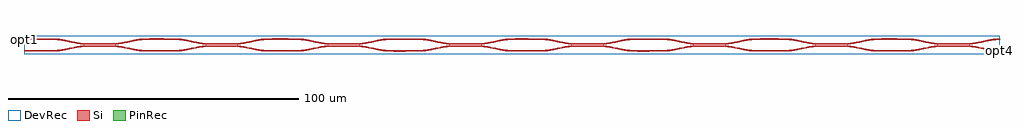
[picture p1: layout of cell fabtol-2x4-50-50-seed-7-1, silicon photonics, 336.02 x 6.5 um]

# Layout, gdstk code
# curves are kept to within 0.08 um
import gdstk
lib = gdstk.Library(unit=1e-6, precision=1e-09)
def R(c, l, rs):  # rectangles x0, y0, x1, y1
    for r in rs: c.add(gdstk.rectangle(r[:2], r[2:], *l))
def P(c, l, *ps):  # polygons
    for p in ps: c.add(gdstk.Polygon(p, *l))
Si = (1, 0)
PinRec = (1, 10)
DevRec = (68, 0)

layer_0_0_phase_sec_0 = lib.new_cell('layer-0_0_phase_sec_0')
P(layer_0_0_phase_sec_0, Si, [(2.769,-0.229),(0,-0.225),(0,0.225),(10,0.225),(10,-0.225)])

layer_2_0_phase_sec_2 = lib.new_cell('layer-2_0_phase_sec_2')
P(layer_2_0_phase_sec_2, Si, [(3.219,-0.227),(0,-0.225),(0,0.225),(10,0.225),(10,-0.225)])

layer_0_0_phase_sec_1 = lib.new_cell('layer-0_0_phase_sec_1')
P(layer_0_0_phase_sec_1, Si, [(2.499,-0.229),(0,-0.225),(0,0.225),(10,0.225),(10,-0.225)])

dc_arm_down = lib.new_cell('dc_arm_down')
R(dc_arm_down, Si, [(12,-0.55,20,-0.1)])
P(dc_arm_down, Si, [(32,-2.225),(30.861,-2.188),(29.344,-2.033),(22.966,-0.793),(21.481,-0.613),(20,-0.55),(20,-0.1),(21.139,-0.137),(22.656,-0.292),(29.034,-1.532),(30.519,-1.712),(32,-1.775)],
  [(0,-2.225),(0,-1.775),(1.481,-1.712),(2.966,-1.532),(9.344,-0.292),(10.861,-0.137),(12,-0.1),(12,-0.55),(10.519,-0.613),(9.034,-0.793),(2.656,-2.033),(1.139,-2.188)])

dc_arm_up = lib.new_cell('dc_arm_up')
R(dc_arm_up, Si, [(12,0.1,20,0.55)])
P(dc_arm_up, Si, [(20,0.1),(20,0.55),(21.481,0.613),(22.966,0.793),(29.344,2.033),(30.861,2.188),(32,2.225),(32,1.775),(30.519,1.712),(29.034,1.532),(22.656,0.292),(21.139,0.137)],
  [(12,0.1),(10.861,0.137),(9.344,0.292),(2.966,1.532),(1.481,1.712),(0,1.775),(0,2.225),(1.139,2.188),(2.656,2.033),(9.034,0.793),(10.519,0.613),(12,0.55)])

c_dc = lib.new_cell('dc')
c_dc.add(gdstk.Reference(dc_arm_down, (0,0)))
c_dc.add(gdstk.Reference(dc_arm_up, (0,0)))

layer_3_0_phase_sec_1 = lib.new_cell('layer-3_0_phase_sec_1')
P(layer_3_0_phase_sec_1, Si, [(2.333,-0.232),(0,-0.225),(0,0.225),(10,0.225),(10,-0.225)])

layer_0_0_phase_sec_2 = lib.new_cell('layer-0_0_phase_sec_2')
P(layer_0_0_phase_sec_2, Si, [(1.232,-0.244),(0,-0.225),(0,0.225),(10,0.225),(10,-0.225)])

layer_0_0_phase_sec_3 = lib.new_cell('layer-0_0_phase_sec_3')
P(layer_0_0_phase_sec_3, Si, [(1.386,-0.235),(0,-0.225),(0,0.225),(10,0.225),(10,-0.225)])

layer_3_0_phase_sec_3 = lib.new_cell('layer-3_0_phase_sec_3')
P(layer_3_0_phase_sec_3, Si, [(1.404,-0.234),(0,-0.225),(0,0.225),(10,0.225),(10,-0.225)])

layer_1_0_phase_sec_0 = lib.new_cell('layer-1_0_phase_sec_0')
P(layer_1_0_phase_sec_0, Si, [(2.81,-0.252),(0,-0.225),(0,0.225),(10,0.225),(10,-0.225)])

layer_3_0_phase_sec_0 = lib.new_cell('layer-3_0_phase_sec_0')
P(layer_3_0_phase_sec_0, Si, [(7.736,-0.247),(0,-0.225),(0,0.225),(10,0.225),(10,-0.225)])

layer_1_0_phase_sec_1 = lib.new_cell('layer-1_0_phase_sec_1')
P(layer_1_0_phase_sec_1, Si, [(3.821,-0.226),(0,-0.225),(0,0.225),(10,0.225),(10,-0.225)])

layer_1_0_phase_sec_2 = lib.new_cell('layer-1_0_phase_sec_2')
P(layer_1_0_phase_sec_2, Si, [(7.686,-0.237),(0,-0.225),(0,0.225),(10,0.225),(10,-0.225)])

layer_3_0_phase_sec_2 = lib.new_cell('layer-3_0_phase_sec_2')
P(layer_3_0_phase_sec_2, Si, [(3.849,-0.245),(0,-0.225),(0,0.225),(10,0.225),(10,-0.225)])

layer_1_0_phase_sec_3 = lib.new_cell('layer-1_0_phase_sec_3')
P(layer_1_0_phase_sec_3, Si, [(4.384,-0.243),(0,-0.225),(0,0.225),(10,0.225),(10,-0.225)])

layer_2_0_phase_sec_0 = lib.new_cell('layer-2_0_phase_sec_0')
P(layer_2_0_phase_sec_0, Si, [(4.485,-0.25),(0,-0.225),(0,0.225),(10,0.225),(10,-0.225)])

layer_2_0_phase_sec_1 = lib.new_cell('layer-2_0_phase_sec_1')
P(layer_2_0_phase_sec_1, Si, [(1.263,-0.227),(0,-0.225),(0,0.225),(10,0.225),(10,-0.225)])

layer_2_0_phase_sec_3 = lib.new_cell('layer-2_0_phase_sec_3')
P(layer_2_0_phase_sec_3, Si, [(4.216,-0.251),(0,-0.225),(0,0.225),(10,0.225),(10,-0.225)])

fabtol_2x4_50_50_seed_7_ = lib.new_cell('fabtol-2x4-50-50-seed-7-1')
R(fabtol_2x4_50_50_seed_7_, DevRec, [(0,-1,336,5.503)])
fabtol_2x4_50_50_seed_7_.add(gdstk.FlexPath([(335.99,0.251),(336.01,0.251)], 0.45, ends="flush", simple_path=True, layer=1, datatype=10))  # PinRec
fabtol_2x4_50_50_seed_7_.add(gdstk.FlexPath([(335.99,4.251),(336.01,4.251)], 0.45, ends="flush", simple_path=True, layer=1, datatype=10))  # PinRec
fabtol_2x4_50_50_seed_7_.add(gdstk.FlexPath([(0.01,4.251),(-0.01,4.251)], 0.45, ends="flush", simple_path=True, layer=1, datatype=10))  # PinRec
fabtol_2x4_50_50_seed_7_.add(gdstk.Reference(layer_0_0_phase_sec_0, (0,4.251)))
fabtol_2x4_50_50_seed_7_.add(gdstk.Reference(layer_2_0_phase_sec_2, (210,4.251)))
fabtol_2x4_50_50_seed_7_.add(gdstk.Reference(layer_0_0_phase_sec_1, (0,0.251)))
fabtol_2x4_50_50_seed_7_.add(gdstk.Reference(c_dc, (10,2.251)))
fabtol_2x4_50_50_seed_7_.add(gdstk.Reference(c_dc, (52,2.251)))
fabtol_2x4_50_50_seed_7_.add(gdstk.Reference(c_dc, (94,2.251)))
fabtol_2x4_50_50_seed_7_.add(gdstk.Reference(c_dc, (136,2.251)))
fabtol_2x4_50_50_seed_7_.add(gdstk.Reference(c_dc, (178,2.251)))
fabtol_2x4_50_50_seed_7_.add(gdstk.Reference(c_dc, (220,2.251)))
fabtol_2x4_50_50_seed_7_.add(gdstk.Reference(c_dc, (262,2.251)))
fabtol_2x4_50_50_seed_7_.add(gdstk.Reference(c_dc, (304,2.251)))
fabtol_2x4_50_50_seed_7_.add(gdstk.Reference(layer_3_0_phase_sec_1, (252,0.251)))
fabtol_2x4_50_50_seed_7_.add(gdstk.Reference(layer_0_0_phase_sec_2, (42,4.251)))
fabtol_2x4_50_50_seed_7_.add(gdstk.Reference(layer_0_0_phase_sec_3, (42,0.251)))
fabtol_2x4_50_50_seed_7_.add(gdstk.Reference(layer_3_0_phase_sec_3, (294,0.251)))
fabtol_2x4_50_50_seed_7_.add(gdstk.Reference(layer_1_0_phase_sec_0, (84,4.251)))
fabtol_2x4_50_50_seed_7_.add(gdstk.Reference(layer_3_0_phase_sec_0, (252,4.251)))
fabtol_2x4_50_50_seed_7_.add(gdstk.Reference(layer_1_0_phase_sec_1, (84,0.251)))
fabtol_2x4_50_50_seed_7_.add(gdstk.Reference(layer_1_0_phase_sec_2, (126,4.251)))
fabtol_2x4_50_50_seed_7_.add(gdstk.Reference(layer_3_0_phase_sec_2, (294,4.251)))
fabtol_2x4_50_50_seed_7_.add(gdstk.Reference(layer_1_0_phase_sec_3, (126,0.251)))
fabtol_2x4_50_50_seed_7_.add(gdstk.Reference(layer_2_0_phase_sec_0, (168,4.251)))
fabtol_2x4_50_50_seed_7_.add(gdstk.Reference(layer_2_0_phase_sec_1, (168,0.251)))
fabtol_2x4_50_50_seed_7_.add(gdstk.Reference(layer_2_0_phase_sec_3, (210,0.251)))
fabtol_2x4_50_50_seed_7_.add(gdstk.Label('opt4', (336,0.251), layer=1, texttype=10))
fabtol_2x4_50_50_seed_7_.add(gdstk.Label('opt3', (336,4.251), layer=1, texttype=10))
fabtol_2x4_50_50_seed_7_.add(gdstk.Label('opt1', (0,4.251), layer=1, texttype=10))

lib.write_gds('fabtol-2x4-50-50-seed-7-1.gds')
